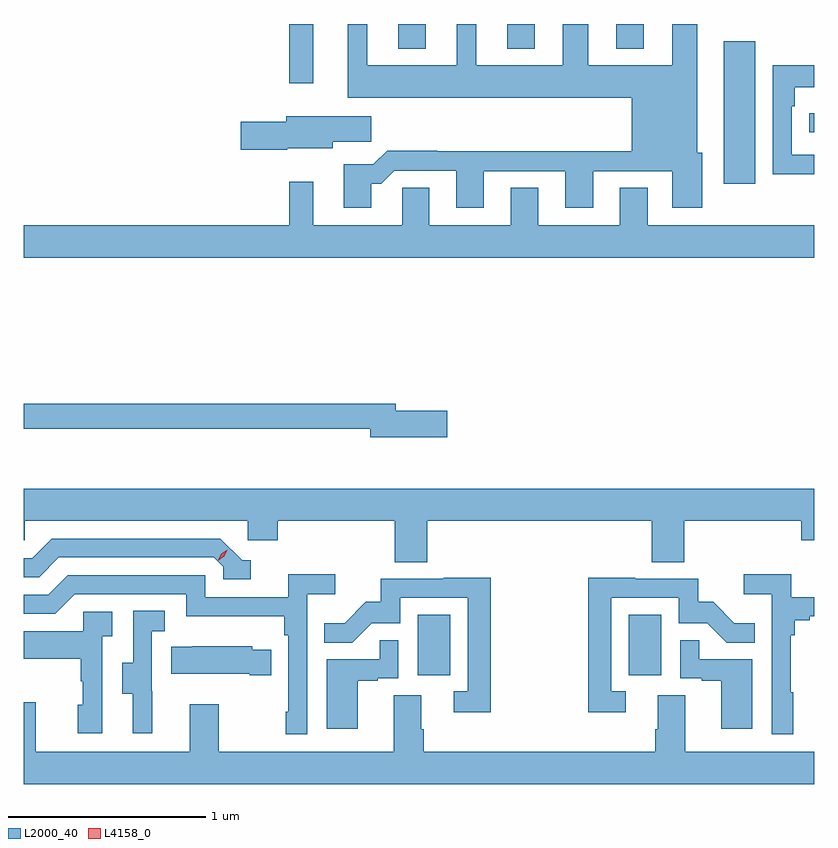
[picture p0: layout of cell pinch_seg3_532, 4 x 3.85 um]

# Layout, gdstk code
import gdstk
lib = gdstk.Library(unit=1e-6, precision=1e-09)
def R(c, l, rs):  # rectangles x0, y0, x1, y1
    for r in rs: c.add(gdstk.rectangle(r[:2], r[2:], *l))
def A(c, l, x, y, w, h, nx, ny, dx, dy):  # array of equal rectangles
    R(c, l, [(x+i*dx, y+j*dy, x+i*dx+w, y+j*dy+h) for i in range(nx) for j in range(ny)])
def P(c, l, *ps):  # polygons
    for p in ps: c.add(gdstk.Polygon(p, *l))
L2000_40 = (2000, 40)
L4158_0 = (4158, 0)

pinch_seg3_532 = lib.new_cell('pinch_seg3_532')
A(pinch_seg3_532, L2000_40, 1121.861, 700.643, 0.14, 0.125, 3, 1, 0.552, 0)
R(pinch_seg3_532, L2000_40, [(1121.96,697.47,1122.124,697.777), (1123.028,697.47,1123.192,697.777), (1123.508,699.96,1123.669,700.681), (1123.941,700.221,1123.966,700.317), (1121.31,700.467,1121.431,700.768)])
P(pinch_seg3_532, L2000_40, [(1121.725,699.959),(1121.774,699.959),(1121.841,700.026),(1122.155,700.026),(1122.155,699.837),(1122.295,699.837),(1122.295,700.023),(1122.707,700.023),(1122.707,699.837),(1122.847,699.837),(1122.847,700.023),(1123.247,700.023),(1123.247,699.837),(1123.399,699.837),(1123.399,700.116),(1123.375,700.116),(1123.375,700.768),(1123.247,700.768),(1123.247,700.558),(1122.823,700.558),(1122.823,700.768),(1122.695,700.768),(1122.695,700.558),(1122.256,700.558),(1122.256,700.768),(1122.158,700.768),(1122.158,700.558),(1121.704,700.558),(1121.704,700.768),(1121.606,700.768),(1121.606,700.394),(1123.043,700.394),(1123.043,700.124),(1122.059,700.124),(1122.059,700.127),(1121.804,700.127),(1121.734,700.057),(1121.585,700.057),(1121.585,699.837),(1121.725,699.837)],
  [(1123.966,700.107),(1123.854,700.107),(1123.854,700.352),(1123.868,700.352),(1123.868,700.448),(1123.966,700.448),(1123.966,700.558),(1123.758,700.558),(1123.758,700.006),(1123.966,700.006)],
  [(1121.298,700.139),(1121.53,700.139),(1121.53,700.171),(1121.725,700.171),(1121.725,700.3),(1121.294,700.3),(1121.294,700.274),(1121.064,700.274),(1121.064,700.132),(1121.298,700.132)],
  [(1123.966,699.748),(1123.123,699.748),(1123.123,699.938),(1122.983,699.938),(1122.983,699.748),(1122.571,699.748),(1122.571,699.938),(1122.431,699.938),(1122.431,699.748),(1122.019,699.748),(1122.019,699.938),(1121.88,699.938),(1121.88,699.748),(1121.431,699.748),(1121.431,699.97),(1121.31,699.97),(1121.31,699.748),(1119.966,699.748),(1119.966,699.584),(1123.966,699.584)],
  [(1122.109,698.81),(1121.848,698.81),(1121.848,698.846),(1119.966,698.846),(1119.966,698.718),(1121.72,698.718),(1121.72,698.675),(1122.109,698.675)],
  [(1119.966,698.154),(1119.969,698.154),(1119.969,698.252),(1121.1,698.252),(1121.1,698.154),(1121.252,698.154),(1121.252,698.252),(1121.843,698.252),(1121.843,698.044),(1122.008,698.044),(1122.008,698.252),(1123.145,698.252),(1123.145,698.044),(1123.31,698.044),(1123.31,698.252),(1123.901,698.252),(1123.901,698.154),(1123.966,698.154),(1123.966,698.416),(1119.966,698.416)],
  [(1121.113,698.052),(1121.07,698.052),(1120.959,698.163),(1120.106,698.163),(1120.007,698.064),(1119.966,698.064),(1119.966,697.968),(1120.044,697.968),(1120.143,698.067),(1120.926,698.067),(1120.974,698.019),(1120.974,697.956),(1121.113,697.956)],
  [(1121.4,697.88),(1121.542,697.88),(1121.542,697.982),(1121.303,697.982),(1121.303,697.866),(1120.884,697.866),(1120.884,697.977),(1120.187,697.977),(1120.088,697.878),(1119.966,697.878),(1119.966,697.782),(1120.125,697.782),(1120.224,697.881),(1120.788,697.881),(1120.788,697.769),(1121.284,697.769),(1121.284,697.673),(1121.304,697.673),(1121.304,697.285),(1121.292,697.285),(1121.292,697.173),(1121.4,697.173)],
  [(1123.861,697.385),(1123.849,697.385),(1123.849,697.673),(1123.868,697.673),(1123.868,697.75),(1123.945,697.75),(1123.945,697.769),(1123.966,697.769),(1123.966,697.866),(1123.85,697.866),(1123.85,697.982),(1123.611,697.982),(1123.611,697.88),(1123.752,697.88),(1123.752,697.173),(1123.861,697.173)],
  [(1122.329,697.964),(1122.091,697.964),(1122.091,697.959),(1121.773,697.959),(1121.773,697.842),(1121.696,697.842),(1121.589,697.735),(1121.485,697.735),(1121.485,697.636),(1121.629,697.636),(1121.727,697.734),(1121.871,697.734),(1121.871,697.863),(1122.213,697.863),(1122.213,697.389),(1122.141,697.389),(1122.141,697.284),(1122.329,697.284)],
  [(1123.012,697.389),(1122.939,697.389),(1122.939,697.863),(1123.281,697.863),(1123.281,697.734),(1123.425,697.734),(1123.523,697.636),(1123.667,697.636),(1123.667,697.735),(1123.563,697.735),(1123.456,697.842),(1123.38,697.842),(1123.38,697.959),(1123.061,697.959),(1123.061,697.964),(1122.823,697.964),(1122.823,697.284),(1123.012,697.284)],
  [(1120.616,697.389),(1120.614,697.389),(1120.614,697.693),(1120.678,697.693),(1120.678,697.796),(1120.518,697.796),(1120.518,697.533),(1120.463,697.533),(1120.463,697.378),(1120.517,697.378),(1120.517,697.176),(1120.616,697.176)],
  [(1120.362,697.667),(1120.414,697.667),(1120.414,697.791),(1120.266,697.791),(1120.266,697.693),(1119.966,697.693),(1119.966,697.553),(1120.254,697.553),(1120.254,697.439),(1120.264,697.439),(1120.264,697.32),(1120.238,697.32),(1120.238,697.176),(1120.362,697.176)],
  [(1121.656,697.443),(1121.756,697.443),(1121.756,697.455),(1121.862,697.455),(1121.862,697.649),(1121.767,697.649),(1121.767,697.551),(1121.498,697.551),(1121.498,697.2),(1121.656,697.2)],
  [(1123.654,697.551),(1123.385,697.551),(1123.385,697.649),(1123.29,697.649),(1123.29,697.455),(1123.397,697.455),(1123.397,697.443),(1123.496,697.443),(1123.496,697.2),(1123.654,697.2)],
  [(1121.219,697.6),(1121.121,697.6),(1121.121,697.618),(1120.819,697.618),(1120.819,697.615),(1120.711,697.615),(1120.711,697.478),(1121.108,697.478),(1121.108,697.471),(1121.219,697.471)],
  [(1123.966,697.084),(1123.315,697.084),(1123.315,697.37),(1123.175,697.37),(1123.175,697.196),(1123.163,697.196),(1123.163,697.084),(1121.99,697.084),(1121.99,697.196),(1121.977,697.196),(1121.977,697.37),(1121.837,697.37),(1121.837,697.084),(1120.953,697.084),(1120.953,697.324),(1120.805,697.324),(1120.805,697.084),(1120.025,697.084),(1120.025,697.333),(1119.966,697.333),(1119.966,696.92),(1123.966,696.92)])
P(pinch_seg3_532, L4158_0, [(1120.95,698.052),(1120.95,698.053),(1120.965,698.086),(1120.996,698.106),(1120.996,698.106),(1120.996,698.106),(1120.981,698.073),(1120.951,698.052)])

lib.write_gds('pinch_seg3_532.gds')
